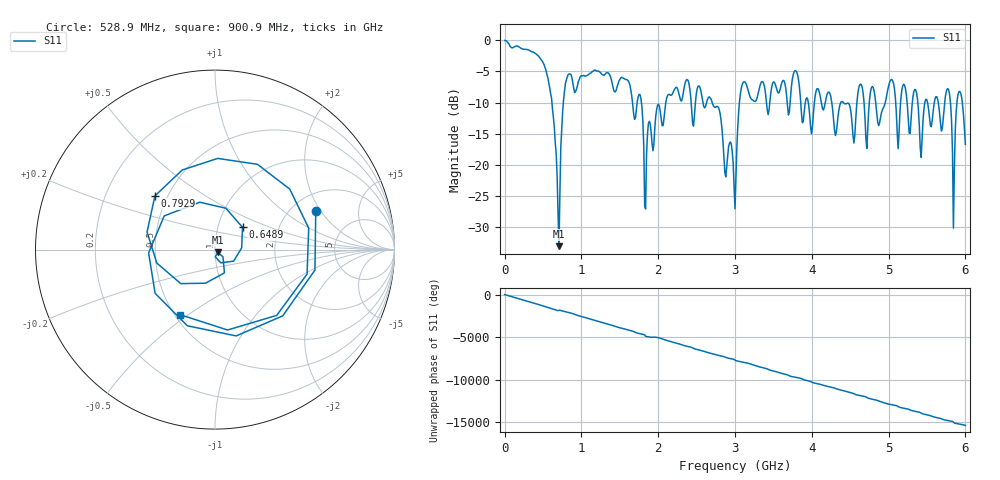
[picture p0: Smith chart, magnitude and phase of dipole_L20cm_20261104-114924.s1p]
! Dipole length 20 cm, measured 20261104-114924
# GHZ S RI R 50.000000000000
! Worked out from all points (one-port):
!   501 points, 1 MHz to 6 GHz, reference 50 ohm
!   lowest |S11| = -33.0 dB at 708.9 MHz (marker M1), VSWR 1.05, Z = 51.6 - j1.64 ohm
!   |S11| at or under -10 dB: 1.782 GHz to 2.1 GHz (317.9 MHz wide, 16.4 % of centre); 2.703 GHz to 3.058 GHz (355.3 MHz wide, 12.3 % of centre); 4.411 GHz to 4.588 GHz (177.1 MHz wide, 3.94 % of centre)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
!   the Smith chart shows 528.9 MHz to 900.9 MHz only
!   S11 on the Smith chart (normalised r, x): 528.9 MHz: 2.68, +1.80; 648.9 MHz: 1.31, +0.34; 792.9 MHz: 0.43, +0.32; 900.9 MHz: 0.53, -0.46
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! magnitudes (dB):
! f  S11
! 1 MHz  0.0
! 528.9 MHz  -4.4
! 648.9 MHz  -14.1
! 708.9 MHz  -33.0
! 756.9 MHz  -11.4
! 792.9 MHz  -7.0
! 900.9 MHz  -7.7
! 1.501 GHz  -6.3
! 1.765 GHz  -8.7
! 1.837 GHz  -27.1
! 1.885 GHz  -13.0
! 2.257 GHz  -8.0
! 2.773 GHz  -10.6
! 3.001 GHz  -27.0
! 3.108 GHz  -6.7
! 3.756 GHz  -5.6
! 3.996 GHz  -15.0
! 4.08 GHz  -7.8
! 4.5 GHz  -10.8
! 4.884 GHz  -13.2
! 5.04 GHz  -6.3
! 5.124 GHz  -17.4
! 5.196 GHz  -7.1
! 5.256 GHz  -12.6
! 5.772 GHz  -7.8
! 5.844 GHz  -30.1
! 5.928 GHz  -8.2
! 6 GHz  -16.7
